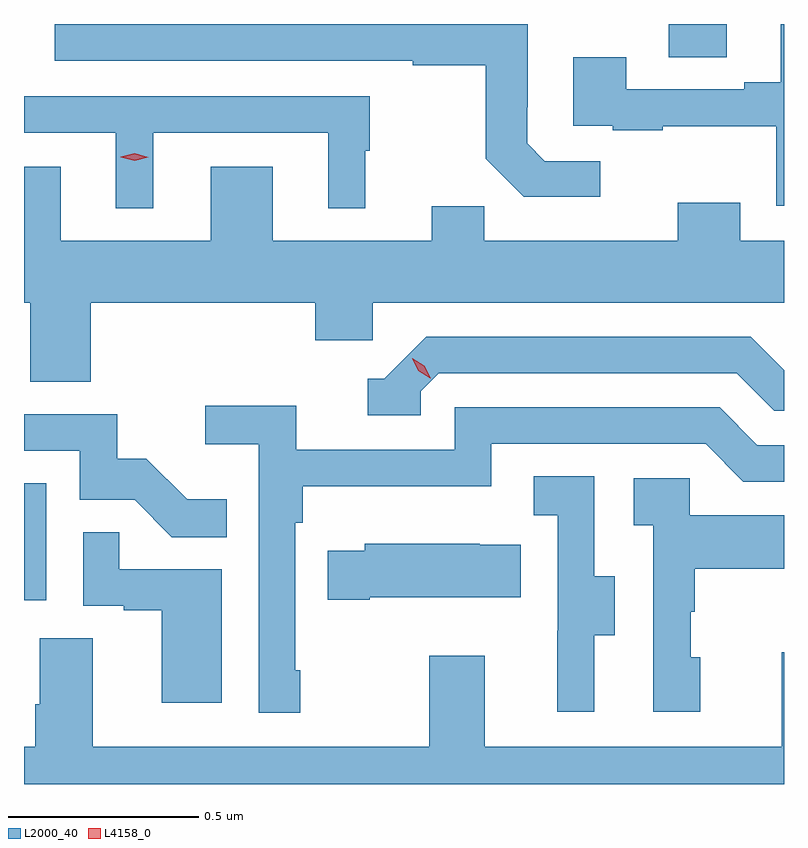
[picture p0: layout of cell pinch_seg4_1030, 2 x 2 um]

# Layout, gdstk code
import gdstk
lib = gdstk.Library(unit=1e-6, precision=1e-09)
def R(c, l, rs):  # rectangles x0, y0, x1, y1
    for r in rs: c.add(gdstk.rectangle(r[:2], r[2:], *l))
def P(c, l, *ps):  # polygons
    for p in ps: c.add(gdstk.Polygon(p, *l))
L2000_40 = (2000, 40)
L4158_0 = (4158, 0)

pinch_seg4_1030 = lib.new_cell('pinch_seg4_1030')
R(pinch_seg4_1030, L2000_40, [(793.908,780.054,793.966,780.361), (795.605,781.483,795.757,781.57)])
P(pinch_seg4_1030, L2000_40, [(795.908,781.57),(795.899,781.57),(795.899,781.417),(795.803,781.417),(795.803,781.398),(795.493,781.398),(795.493,781.483),(795.353,781.483),(795.353,781.302),(795.457,781.302),(795.457,781.29),(795.589,781.29),(795.589,781.301),(795.888,781.301),(795.888,781.092),(795.908,781.092)],
  [(795.424,781.209),(795.279,781.209),(795.232,781.256),(795.232,781.351),(795.234,781.351),(795.234,781.57),(794.927,781.57),(794.927,781.569),(794.369,781.569),(794.369,781.57),(793.989,781.57),(793.989,781.473),(794.931,781.473),(794.931,781.461),(795.123,781.461),(795.123,781.215),(795.223,781.115),(795.424,781.115)],
  [(794.248,781.284),(794.708,781.284),(794.708,781.085),(794.806,781.085),(794.806,781.236),(794.818,781.236),(794.818,781.38),(793.908,781.38),(793.908,781.284),(794.15,781.284),(794.15,781.085),(794.248,781.085)],
  [(794.084,780.836),(794.675,780.836),(794.675,780.738),(794.826,780.738),(794.826,780.836),(795.908,780.836),(795.908,781),(795.793,781),(795.793,781.099),(795.629,781.099),(795.629,781),(795.119,781),(795.119,781.091),(794.981,781.091),(794.981,781),(794.563,781),(794.563,781.195),(794.399,781.195),(794.399,781),(794.005,781),(794.005,781.195),(793.908,781.195),(793.908,780.836),(793.924,780.836),(793.924,780.628),(794.084,780.628)],
  [(794.952,780.603),(795,780.651),(795.783,780.651),(795.882,780.552),(795.908,780.552),(795.908,780.659),(795.82,780.747),(794.967,780.747),(794.856,780.636),(794.813,780.636),(794.813,780.54),(794.952,780.54)],
  [(794.635,779.869),(794.622,779.869),(794.622,780.257),(794.642,780.257),(794.642,780.353),(795.138,780.353),(795.138,780.465),(795.702,780.465),(795.801,780.366),(795.908,780.366),(795.908,780.462),(795.838,780.462),(795.739,780.561),(795.042,780.561),(795.042,780.45),(794.624,780.45),(794.624,780.566),(794.385,780.566),(794.385,780.464),(794.526,780.464),(794.526,779.757),(794.635,779.757)],
  [(794.441,780.319),(794.337,780.319),(794.23,780.426),(794.154,780.426),(794.154,780.543),(793.908,780.543),(793.908,780.447),(794.055,780.447),(794.055,780.318),(794.199,780.318),(794.297,780.22),(794.441,780.22)],
  [(795.409,779.962),(795.463,779.962),(795.463,780.117),(795.408,780.117),(795.408,780.38),(795.249,780.38),(795.249,780.277),(795.312,780.277),(795.312,779.973),(795.311,779.973),(795.311,779.76),(795.409,779.76)],
  [(795.688,779.904),(795.663,779.904),(795.663,780.023),(795.673,780.023),(795.673,780.137),(795.908,780.137),(795.908,780.277),(795.66,780.277),(795.66,780.375),(795.513,780.375),(795.513,780.251),(795.564,780.251),(795.564,779.76),(795.688,779.76)],
  [(794.428,780.135),(794.159,780.135),(794.159,780.233),(794.064,780.233),(794.064,780.039),(794.171,780.039),(794.171,780.027),(794.27,780.027),(794.27,779.784),(794.428,779.784)],
  [(794.818,780.062),(795.215,780.062),(795.215,780.199),(795.107,780.199),(795.107,780.202),(794.805,780.202),(794.805,780.184),(794.707,780.184),(794.707,780.055),(794.818,780.055)],
  [(795.908,779.917),(795.902,779.917),(795.902,779.668),(795.121,779.668),(795.121,779.908),(794.974,779.908),(794.974,779.668),(794.089,779.668),(794.089,779.954),(793.949,779.954),(793.949,779.78),(793.937,779.78),(793.937,779.668),(793.908,779.668),(793.908,779.57),(795.908,779.57)])
P(pinch_seg4_1030, L4158_0, [(794.977,780.638),(794.946,780.657),(794.93,780.69),(794.93,780.69),(794.93,780.69),(794.961,780.671),(794.978,780.638),(794.978,780.638)],
  [(794.199,781.21),(794.163,781.22),(794.163,781.22),(794.163,781.221),(794.199,781.23),(794.235,781.22),(794.235,781.22),(794.235,781.22)])

lib.write_gds('pinch_seg4_1030.gds')
